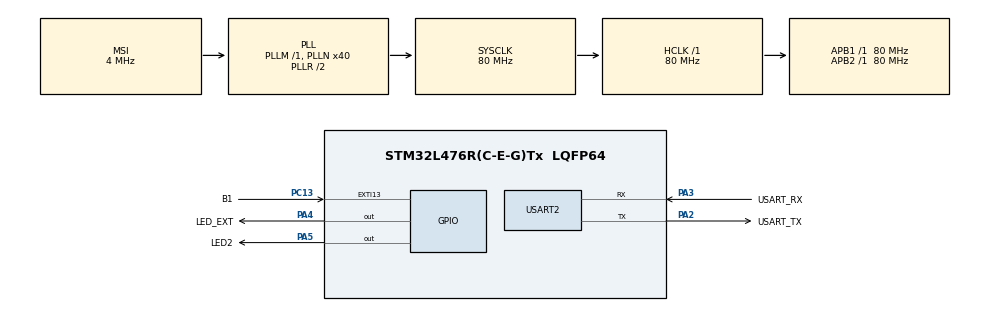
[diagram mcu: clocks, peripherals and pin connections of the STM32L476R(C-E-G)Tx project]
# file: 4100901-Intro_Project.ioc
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Mcu.Family=STM32L4
Mcu.Name=STM32L476R(C-E-G)Tx
Mcu.Package=LQFP64
NVIC.EXTI15_10_IRQn=true\:0\:0\:false\:false\:true\:true\:true\:true
NVIC.PriorityGroup=NVIC_PRIORITYGROUP_4
NVIC.USART2_IRQn=true\:0\:0\:false\:false\:true\:true\:true\:true
PA14\ (JTCK-SWCLK).GPIO_Label=TCK
PA14\ (JTCK-SWCLK).Signal=SYS_JTCK-SWCLK
PA2.GPIO_Label=USART_TX
PA2.GPIO_Mode=GPIO_MODE_AF_PP
PA2.GPIO_PuPd=GPIO_NOPULL
PA2.GPIO_Speed=GPIO_SPEED_FREQ_VERY_HIGH
PA2.Mode=Asynchronous
PA2.Signal=USART2_TX
PA3.GPIO_Label=USART_RX
PA3.GPIO_Mode=GPIO_MODE_AF_PP
PA3.GPIO_PuPd=GPIO_NOPULL
PA3.GPIO_Speed=GPIO_SPEED_FREQ_VERY_HIGH
PA3.Mode=Asynchronous
PA3.Signal=USART2_RX
PA4.GPIO_Label=LED_EXT
PA4.Signal=GPIO_Output
PA5.GPIO_Label=LED2
PA5.Signal=GPIO_Output
PB3\ (JTDO-TRACESWO).GPIO_Label=SWO
PB3\ (JTDO-TRACESWO).Signal=SYS_JTDO-SWO
PC13.GPIO_Label=B1
PC13.Signal=GPXTI13
PC14-OSC32_IN\ (PC14).Mode=LSE-External-Oscillator
PC14-OSC32_IN\ (PC14).Signal=RCC_OSC32_IN
PC15-OSC32_OUT\ (PC15).Mode=LSE-External-Oscillator
PC15-OSC32_OUT\ (PC15).Signal=RCC_OSC32_OUT
PH0-OSC_IN\ (PH0).Signal=RCC_OSC_IN
PH1-OSC_OUT\ (PH1).Signal=RCC_OSC_OUT
ProjectManager.HeapSize=0x200
ProjectManager.StackSize=0x400
ProjectManager.TargetToolchain=CMake
RCC.ADCFreq_Value=16000000
RCC.AHBFreq_Value=80000000
RCC.APB1Freq_Value=80000000
RCC.APB1TimFreq_Value=80000000
RCC.APB2Freq_Value=80000000
RCC.APB2TimFreq_Value=80000000
RCC.CortexFreq_Value=80000000
RCC.HCLKFreq_Value=80000000
RCC.HSE_VALUE=8000000
RCC.HSI_VALUE=16000000
RCC.MSI_VALUE=4000000
RCC.PLLN=40
RCC.PREFETCH_ENABLE=1
RCC.SYSCLKFreq_VALUE=80000000
RCC.SYSCLKSource=RCC_SYSCLKSOURCE_PLLCLK
RCC.USBFreq_Value=16000000
RCC.VCOOutputFreq_Value=160000000
USART2.VirtualMode-Asynchronous=VM_ASYNC
board=NUCLEO-L476RG

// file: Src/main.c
/* USER CODE BEGIN Header */
/**
  ******************************************************************************
  * @file           : main.c
  * @brief          : Main program body
  ******************************************************************************
  * @attention
  *
  * Copyright (c) 2025 STMicroelectronics.
  * All rights reserved.
  *
  * This software is licensed under terms that can be found in the LICENSE file
  * in the root directory of this software component.
  * If no LICENSE file comes with this software, it is provided AS-IS.
  *
  ******************************************************************************
  */
/* USER CODE END Header */
#include "main.h"
#include "usart.h"
#include "gpio.h"

/* USER CODE BEGIN Includes */
#include <stdio.h> // Para usar sprintf
#include <string.h> // Para usar strlen
/* USER CODE END Includes */

/* USER CODE BEGIN PV */
// Variables para UART
uint8_t rx_data; // Buffer para recibir 1 byte por UART
char tx_buffer[50]; // Buffer para transmitir mensajes por UART

// Variables para el botón y LED externo
volatile uint8_t button_flag = 0; // Flag para indicar que el botón fue presionado (volatile porque se modifica en interrupción)
volatile uint32_t led_ext_off_time = 0; // Momento en que se debe apagar el LED externo

/* USER CODE END PV */

void SystemClock_Config(void);

/* USER CODE BEGIN 0 */
// Callback que se ejecuta cuando se completa la recepción de 1 byte por UART2
void HAL_UART_RxCpltCallback(UART_HandleTypeDef *huart)
{
  if (huart->Instance == USART2)
  {
    // Hacemos eco del caracter recibido
    HAL_UART_Transmit(&huart2, &rx_data, 1, 10); // Enviar el byte recibido de vuelta

    // Volvemos a habilitar la interrupción de recepción UART para el próximo byte
    HAL_UART_Receive_IT(&huart2, &rx_data, 1);
  }
}
/* USER CODE END 0 */

int main(void)
{

  /* MCU Configuration--------------------------------------------------------*/

  /* Reset of all peripherals, Initializes the Flash interface and the Systick. */
  HAL_Init();

  /* Configure the system clock */
  SystemClock_Config();

  /* Initialize all configured peripherals */
  MX_GPIO_Init();
  MX_USART2_UART_Init();
  /* USER CODE BEGIN 2 */
  // Habilitar la recepción UART por interrupción por primera vez
  HAL_UART_Receive_IT(&huart2, &rx_data, 1);

  // Mensaje de bienvenida por UART
  char *welcome_msg = "Esta - Listo\r\n";
  HAL_UART_Transmit(&huart2, (uint8_t*)welcome_msg, strlen(welcome_msg), 100);

  /* USER CODE END 2 */

  /* Infinite loop */
  while (1)
  {

    /* USER CODE BEGIN 3 */
    // ---- Heartbeat LED ----
    //static uint32_t last_heartbeat_time = 0;
    //if (HAL_GetTick() - last_heartbeat_time >= 500) // Cada 500 ms
    //{
      //HAL_GPIO_TogglePin(LED2_GPIO_Port, LED2_Pin); // Cambia el estado del LED LD2
      //last_heartbeat_time = HAL_GetTick();
    //}

    // ---- Procesamiento del Botón ----
    if (button_flag == 1)
    {
      // 1. Encender LED Externo
      HAL_GPIO_WritePin(LED_EXT_GPIO_Port, LED_EXT_Pin, GPIO_PIN_SET); // Enciende LED_EXT
      HAL_GPIO_WritePin(LED2_GPIO_Port, LED2_Pin, GPIO_PIN_SET);//Enciende LED2 (opcional)
      // 2. Calcular cuándo apagarlo (3 segundos desde ahora)
      led_ext_off_time = HAL_GetTick() + 3000;

      // 3. Enviar mensaje por UART
      sprintf(tx_buffer, " B1 presionado! LED EXT ON.\r\n");
      HAL_UART_Transmit(&huart2, (uint8_t*)tx_buffer, strlen(tx_buffer), 100);

      // 4. Limpiar el flag
      button_flag = 0;
    }

    // ---- Control del Apagado del LED Externo ----
    // Si el tiempo de apagado es distinto de 0 (significa que está programado)
    // y ya hemos alcanzado o superado ese tiempo...
    if (led_ext_off_time != 0 && HAL_GetTick() >= led_ext_off_time)
    {
      // 1. Apagar el LED
      HAL_GPIO_WritePin(LED_EXT_GPIO_Port, LED_EXT_Pin, GPIO_PIN_RESET); // Apaga LED_EXT
      HAL_GPIO_WritePin(LED2_GPIO_Port, LED2_Pin, GPIO_PIN_RESET);//apaga LED2 (opcional)
      // 2. Enviar mensaje por UART (opcional)
      sprintf(tx_buffer, "LED EXT OFF (timeout).\r\n");
      HAL_UART_Transmit(&huart2, (uint8_t*)tx_buffer, strlen(tx_buffer), 100);

      // 3. Resetear el tiempo de apagado a 0 (para no volver a apagarlo)
      led_ext_off_time = 0;
    }

  } // Fin del while(1)
  /* USER CODE END 3 */
}

void SystemClock_Config(void)
{
  RCC_OscInitTypeDef RCC_OscInitStruct = {0};
  RCC_ClkInitTypeDef RCC_ClkInitStruct = {0};

  /** Configure the main internal regulator output voltage
  */
  if (HAL_PWREx_ControlVoltageScaling(PWR_REGULATOR_VOLTAGE_SCALE1) != HAL_OK)
  {
    Error_Handler();
  }

  /** Configure LSE Drive Capability
  */
  HAL_PWR_EnableBkUpAccess();
  __HAL_RCC_LSEDRIVE_CONFIG(RCC_LSEDRIVE_LOW);

  /** Initializes the RCC Oscillators according to the specified parameters
  * in the RCC_OscInitTypeDef structure.
  */
  RCC_OscInitStruct.OscillatorType = RCC_OSCILLATORTYPE_LSE|RCC_OSCILLATORTYPE_MSI;
  RCC_OscInitStruct.LSEState = RCC_LSE_ON;
  RCC_OscInitStruct.MSIState = RCC_MSI_ON;
  RCC_OscInitStruct.MSICalibrationValue = 0;
  RCC_OscInitStruct.MSIClockRange = RCC_MSIRANGE_6;
  RCC_OscInitStruct.PLL.PLLState = RCC_PLL_ON;
  RCC_OscInitStruct.PLL.PLLSource = RCC_PLLSOURCE_MSI;
  RCC_OscInitStruct.PLL.PLLM = 1;
  RCC_OscInitStruct.PLL.PLLN = 40;
  RCC_OscInitStruct.PLL.PLLP = RCC_PLLP_DIV7;
  RCC_OscInitStruct.PLL.PLLQ = RCC_PLLQ_DIV2;
  RCC_OscInitStruct.PLL.PLLR = RCC_PLLR_DIV2;
  if (HAL_RCC_OscConfig(&RCC_OscInitStruct) != HAL_OK)
  {
    Error_Handler();
  }

  /** Initializes the CPU, AHB and APB buses clocks
  */
  RCC_ClkInitStruct.ClockType = RCC_CLOCKTYPE_HCLK|RCC_CLOCKTYPE_SYSCLK
                              |RCC_CLOCKTYPE_PCLK1|RCC_CLOCKTYPE_PCLK2;
  RCC_ClkInitStruct.SYSCLKSource = RCC_SYSCLKSOURCE_PLLCLK;
  RCC_ClkInitStruct.AHBCLKDivider = RCC_SYSCLK_DIV1;
  RCC_ClkInitStruct.APB1CLKDivider = RCC_HCLK_DIV1;
  RCC_ClkInitStruct.APB2CLKDivider = RCC_HCLK_DIV1;

  if (HAL_RCC_ClockConfig(&RCC_ClkInitStruct, FLASH_LATENCY_4) != HAL_OK)
  {
    Error_Handler();
  }

  /** Enable MSI Auto calibration
  */
  HAL_RCCEx_EnableMSIPLLMode();
}

/* USER CODE BEGIN 4 */
// Callback que se ejecuta cuando ocurre una interrupción externa (Botón B1)
void HAL_GPIO_EXTI_Callback(uint16_t GPIO_Pin)
{
  static uint32_t last_press_time = 0; // Guarda el tick de la última pulsación válida
  uint32_t current_time = HAL_GetTick(); // Obtiene el tiempo actual en ms

  if (GPIO_Pin == B1_Pin) // Nos aseguramos que la interrupción es del B1
  {
    // Debounce sencillo: ignorar si han pasado menos de 200ms desde la última vez
    //if (current_time - last_press_time > 300)
    //{
      button_flag = 1; // Activamos el flag para que el bucle principal lo procese
      //last_press_time = current_time; // Actualizamos el tiempo de la última pulsación válida
    //}
    HAL_GPIO_WritePin(LED_EXT_GPIO_Port, LED_EXT_Pin, GPIO_PIN_SET); // Enciende LED_EXT
    // sprintf(tx_buffer, "Botón B1 presionado -> LED ON\r\n");
    // HAL_UART_Transmit(&huart2, (uint8_t*)tx_buffer, strlen(tx_buffer), 100);
  }
last_press_time = current_time; // Actualizar el tiempo de la última pulsación

}
/* USER CODE END 4 */

void Error_Handler(void)
{
  __disable_irq();
  while (1)
  {
  }
}
